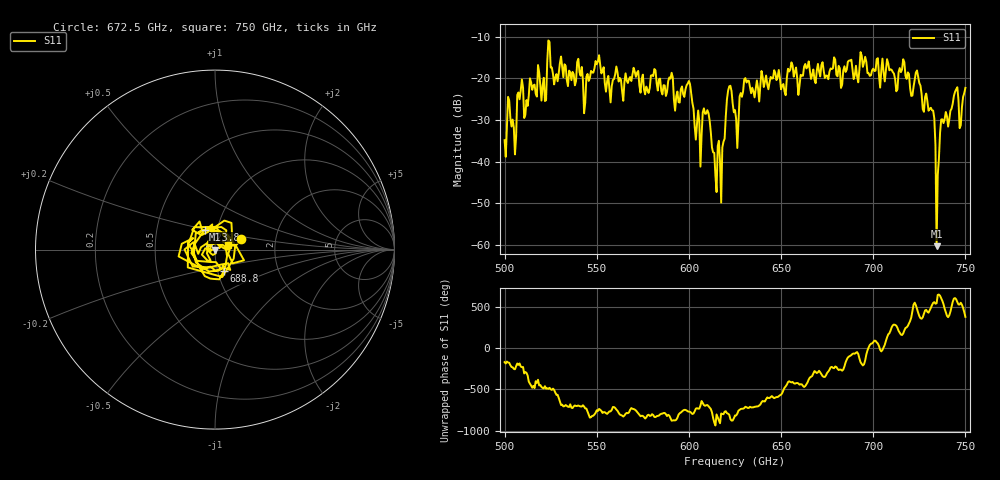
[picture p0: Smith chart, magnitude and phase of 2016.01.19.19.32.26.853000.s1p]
!Created with skrf (http://scikit-rf.org).
# GHz S RI R 50.0
!freq ReS11 ImS11
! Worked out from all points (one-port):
!   401 points, 500 GHz to 750 GHz, reference 50 ohm
!   lowest |S11| = -60.3 dB at 734.4 GHz (marker M1), VSWR 1.00, Z = 49.9 - j0.0117 ohm
!   |S11| at or under -10 dB: start of sweep to end of sweep
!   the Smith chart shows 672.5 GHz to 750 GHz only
!   S11 on the Smith chart (normalised r, x): 672.5 GHz: 1.33, +0.16; 688.8 GHz: 1.07, -0.26; 723.8 GHz: 0.87, +0.19; 750 GHz: 1.15, +0.07
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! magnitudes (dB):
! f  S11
! 500 GHz  -34.8
! 503.1 GHz  -29.5
! 505 GHz  -31.8
! 508.1 GHz  -25.0
! 511.9 GHz  -25.2
! 521.2 GHz  -19.9
! 524.4 GHz  -11.3
! 531.2 GHz  -17.3
! 562.5 GHz  -19.9
! 590 GHz  -20.1
! 593.8 GHz  -23.2
! 600 GHz  -20.6
! 605 GHz  -27.7
! 609.4 GHz  -28.5
! 616.2 GHz  -35.0
! 621.9 GHz  -21.9
! 625 GHz  -27.6
! 631.2 GHz  -21.0
! 656.2 GHz  -16.9
! 672.5 GHz  -16.1
! 687.5 GHz  -15.7
! 688.8 GHz  -17.8
! 718.8 GHz  -18.6
! 723.8 GHz  -18.1
! 731.9 GHz  -27.7
! 734.4 GHz  -60.3
! 738.1 GHz  -30.7
! 750 GHz  -22.3
